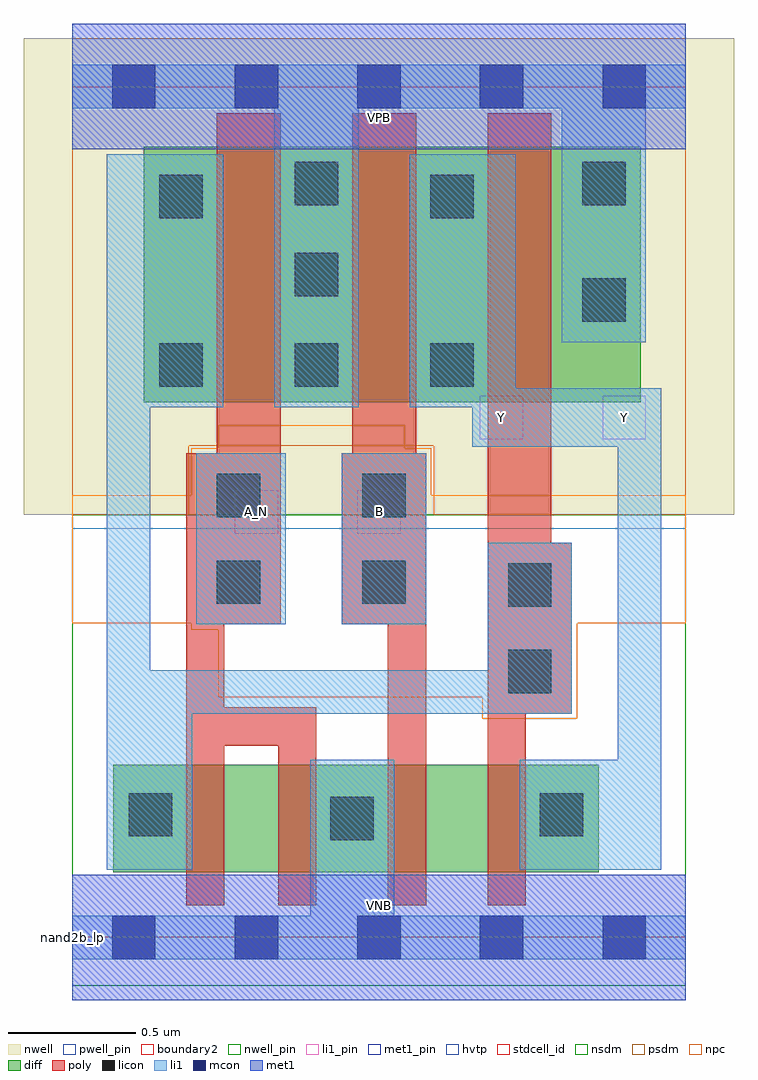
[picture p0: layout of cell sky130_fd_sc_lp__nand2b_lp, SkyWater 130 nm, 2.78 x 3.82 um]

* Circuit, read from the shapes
.subckt sky130_fd_sc_lp__nand2b_lp A_N B VGND VNB VPB VPWR Y
XM1 n1 A_N n2 VNB sky130_fd_pr__nfet_01v8 w=0.42 l=0.15
XM2 VGND A_N n1 VNB sky130_fd_pr__nfet_01v8 w=0.42 l=0.15
XM3 n3 B VGND VNB sky130_fd_pr__nfet_01v8 w=0.42 l=0.15
XM4 Y n2 n3 VNB sky130_fd_pr__nfet_01v8 w=0.42 l=0.15
XM5 VPWR A_N n2 VPB sky130_fd_pr__pfet_01v8_hvt w=1 l=0.25
XM6 Y B VPWR VPB sky130_fd_pr__pfet_01v8_hvt w=1 l=0.25
XM7 VPWR n2 Y VPB sky130_fd_pr__pfet_01v8_hvt w=1 l=0.25
.ends

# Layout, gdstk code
import gdstk
lib = gdstk.Library(unit=1e-6, precision=1e-09)
def R(c, l, rs):  # rectangles x0, y0, x1, y1
    for r in rs: c.add(gdstk.rectangle(r[:2], r[2:], *l))
def A(c, l, x, y, w, h, nx, ny, dx, dy):  # array of equal rectangles
    R(c, l, [(x+i*dx, y+j*dy, x+i*dx+w, y+j*dy+h) for i in range(nx) for j in range(ny)])
def P(c, l, *ps):  # polygons
    for p in ps: c.add(gdstk.Polygon(p, *l))
nwell_pin = (64, 16)
nwell = (64, 20)
diff = (65, 20)
poly = (66, 20)
licon = (66, 44)
li1_pin = (67, 16)
li1 = (67, 20)
mcon = (67, 44)
met1_pin = (68, 16)
met1 = (68, 20)
hvtp = (78, 44)
stdcell_id = (81, 4)
nsdm = (93, 44)
psdm = (94, 20)
npc = (95, 20)
pwell_pin = (122, 16)
boundary2 = (236, 0)

sky130_fd_sc_lp__nand2b_ = lib.new_cell('sky130_fd_sc_lp__nand2b_lp')
R(sky130_fd_sc_lp__nand2b_, nwell_pin, [(0,3.085,2.4,3.33)])
R(sky130_fd_sc_lp__nand2b_, nwell, [(-0.19,1.655,2.59,3.52)])
R(sky130_fd_sc_lp__nand2b_, diff, [(0.16,0.255,2.06,0.675), (0.28,2.095,2.225,3.095)])
P(sky130_fd_sc_lp__nand2b_, poly, [(0.955,0.9),(0.595,0.9),(0.595,1.225),(0.815,1.225),(0.815,3.225),(0.565,3.225),(0.565,1.895),(0.445,1.895),(0.445,0.125),(0.595,0.125),(0.595,0.75),(0.805,0.75),(0.805,0.125),(0.955,0.125)],
  [(1.385,1.895),(1.345,1.895),(1.345,3.225),(1.095,3.225),(1.095,1.895),(1.055,1.895),(1.055,1.225),(1.235,1.225),(1.235,0.125),(1.385,0.125)],
  [(1.955,1.545),(1.875,1.545),(1.875,3.225),(1.625,3.225),(1.625,0.125),(1.775,0.125),(1.775,0.875),(1.955,0.875)])
A(sky130_fd_sc_lp__nand2b_, licon, 0.34, 2.155, 0.17, 0.17, 3, 1, 0.53, 0)
R(sky130_fd_sc_lp__nand2b_, licon, [(1.01,0.38,1.18,0.55), (0.22,0.395,0.39,0.565), (1.83,0.395,2,0.565), (1.705,0.955,1.875,1.125), (1.705,1.295,1.875,1.465), (0.565,1.305,0.735,1.475), (1.135,1.305,1.305,1.475), (0.565,1.645,0.735,1.815), (1.135,1.645,1.305,1.815), (1.995,2.41,2.165,2.58), (0.87,2.51,1.04,2.68), (0.34,2.815,0.51,2.985), (1.4,2.815,1.57,2.985), (0.87,2.865,1.04,3.035), (1.995,2.865,2.165,3.035)])
R(sky130_fd_sc_lp__nand2b_, li1_pin, [(0.635,1.58,0.805,1.75), (1.115,1.58,1.285,1.75), (1.595,1.95,1.765,2.12), (2.075,1.95,2.245,2.12)])
R(sky130_fd_sc_lp__nand2b_, li1, [(0.485,1.225,0.835,1.895), (1.055,1.225,1.385,1.895)])
P(sky130_fd_sc_lp__nand2b_, li1, [(1.915,2.33),(1.915,3.245),(1.12,3.245),(1.12,2.075),(0.79,2.075),(0.79,3.245),(0,3.245),(0,3.415),(2.4,3.415),(2.4,3.245),(2.245,3.245),(2.245,2.33)],
  [(0.93,0.085),(0.93,0.695),(1.26,0.695),(1.26,0.085),(2.4,0.085),(2.4,-0.085),(0,-0.085),(0,0.085)],
  [(0.135,3.065),(0.59,3.065),(0.59,2.075),(0.305,2.075),(0.305,1.045),(1.625,1.045),(1.625,1.545),(1.955,1.545),(1.955,0.875),(0.47,0.875),(0.47,0.265),(0.135,0.265)],
  [(2.135,0.695),(2.135,1.92),(1.565,1.92),(1.565,2.075),(1.32,2.075),(1.32,3.065),(1.735,3.065),(1.735,2.15),(2.305,2.15),(2.305,0.265),(1.75,0.265),(1.75,0.695)])
A(sky130_fd_sc_lp__nand2b_, mcon, 0.155, -0.085, 0.17, 0.17, 5, 2, 0.48, 3.33)
R(sky130_fd_sc_lp__nand2b_, met1_pin, [(0,0,2.4,0.245), (0,3.085,2.4,3.33)])
R(sky130_fd_sc_lp__nand2b_, met1, [(0,-0.245,2.4,0.245), (0,3.085,2.4,3.575)])
R(sky130_fd_sc_lp__nand2b_, hvtp, [(0,1.6,2.4,3.33)])
R(sky130_fd_sc_lp__nand2b_, stdcell_id, [(0,0,2.4,3.33)])
R(sky130_fd_sc_lp__nand2b_, nsdm, [(0,-0.19,2.4,1.655)])
P(sky130_fd_sc_lp__nand2b_, psdm, [(2.4,3.52),(0,3.52),(0,1.655),(0.455,1.655),(0.455,1.925),(1.415,1.925),(1.415,1.655),(2.4,1.655)])
P(sky130_fd_sc_lp__nand2b_, npc, [(2.4,1.73),(1.405,1.73),(1.405,1.915),(1.3,1.915),(1.3,2.005),(0.57,2.005),(0.57,1.915),(0.465,1.915),(0.465,1.73),(0,1.73),(0,1.23),(0.465,1.23),(0.465,1.205),(0.57,1.205),(0.57,0.94),(1.605,0.94),(1.605,0.855),(1.975,0.855),(1.975,1.23),(2.4,1.23)])
R(sky130_fd_sc_lp__nand2b_, pwell_pin, [(0,0,2.4,0.245)])
R(sky130_fd_sc_lp__nand2b_, boundary2, [(0,0,2.4,3.33)])
sky130_fd_sc_lp__nand2b_.add(gdstk.Label('VNB', (1.2,0.123), layer=64, texttype=59))
sky130_fd_sc_lp__nand2b_.add(gdstk.Label('VPB', (1.2,3.208), layer=64, texttype=5))
sky130_fd_sc_lp__nand2b_.add(gdstk.Label('nand2b_lp', (0,0), layer=83, texttype=44))
sky130_fd_sc_lp__nand2b_.add(gdstk.Label('VPWR', (1.2,3.208), layer=68, texttype=5))
sky130_fd_sc_lp__nand2b_.add(gdstk.Label('VGND', (1.2,0.123), layer=68, texttype=5))
sky130_fd_sc_lp__nand2b_.add(gdstk.Label('A_N', (0.72,1.665), layer=67, texttype=5))
sky130_fd_sc_lp__nand2b_.add(gdstk.Label('B', (1.2,1.665), layer=67, texttype=5))
sky130_fd_sc_lp__nand2b_.add(gdstk.Label('Y', (1.68,2.035), layer=67, texttype=5))
sky130_fd_sc_lp__nand2b_.add(gdstk.Label('Y', (2.16,2.035), layer=67, texttype=5))

lib.write_gds('sky130_fd_sc_lp__nand2b_lp.gds')
